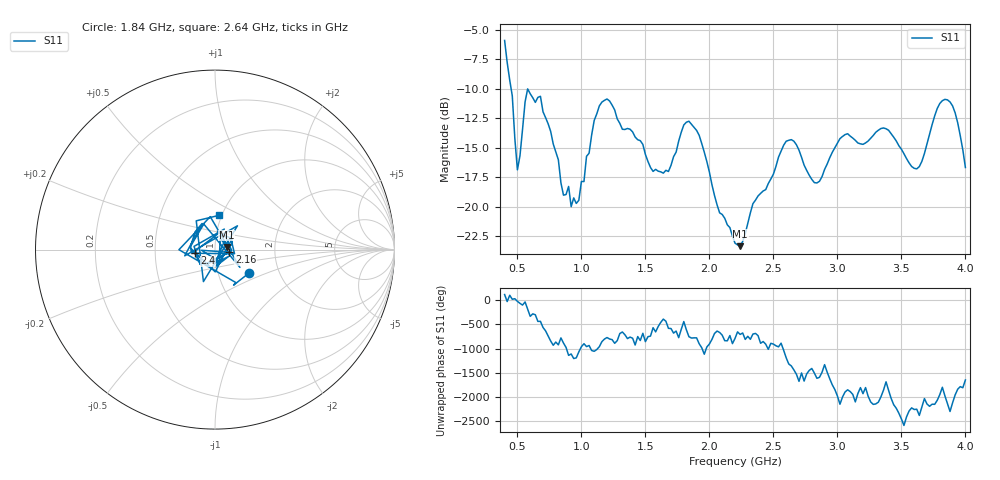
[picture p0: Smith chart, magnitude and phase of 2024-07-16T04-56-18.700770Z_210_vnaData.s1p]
!Created with skrf (http://scikit-rf.org).
# Hz S RI R 50.0
!freq ReS11 ImS11
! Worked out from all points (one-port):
!   181 points, 400 MHz to 4 GHz, reference 50 ohm
!   lowest |S11| = -23.3 dB at 2.24 GHz (marker M1), VSWR 1.15, Z = 57.1 + j1.73 ohm
!   |S11| at or under -10 dB: 450.9 MHz to end of sweep
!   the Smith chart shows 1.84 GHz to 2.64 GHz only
!   S11 on the Smith chart (normalised r, x): 1.84 GHz: 1.41, -0.39; 2.16 GHz: 1.17, -0.04; 2.4 GHz: 0.80, -0.03; 2.64 GHz: 0.97, +0.39
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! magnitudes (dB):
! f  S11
! 400 MHz  -5.9
! 460 MHz  -10.6
! 500 MHz  -16.9
! 580 MHz  -10.0
! 680 MHz  -10.6
! 860 MHz  -19.0
! 980 MHz  -19.4
! 1.1 GHz  -12.7
! 1.16 GHz  -11.1
! 1.3 GHz  -12.9
! 1.56 GHz  -17.0
! 1.68 GHz  -17.0
! 1.76 GHz  -14.4
! 1.84 GHz  -12.8
! 2.16 GHz  -21.8
! 2.2 GHz  -23.1
! 2.24 GHz  -23.3
! 2.4 GHz  -18.9
! 2.64 GHz  -14.3
! 2.66 GHz  -14.4
! 2.84 GHz  -18.0
! 3.1 GHz  -14.0
! 3.38 GHz  -13.4
! 3.56 GHz  -16.3
! 3.64 GHz  -16.6
! 3.84 GHz  -10.9
! 3.92 GHz  -12.0
! 4 GHz  -16.7
